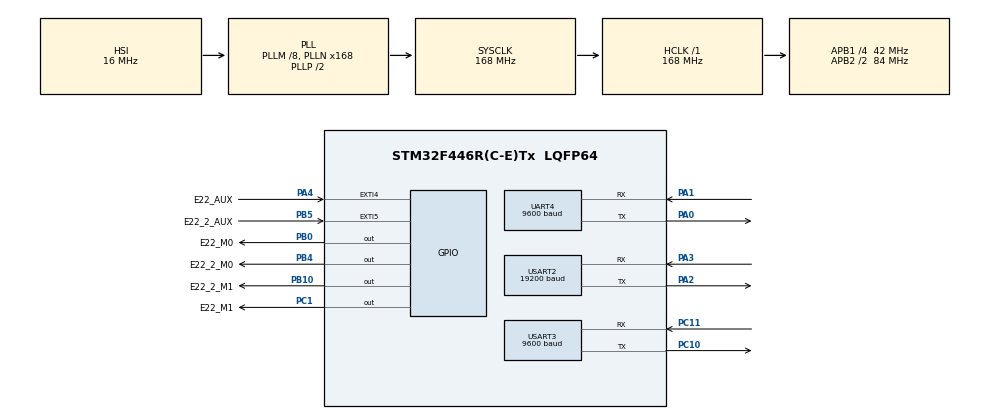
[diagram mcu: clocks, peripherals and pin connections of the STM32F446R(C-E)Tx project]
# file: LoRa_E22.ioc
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Mcu.Family=STM32F4
Mcu.Name=STM32F446R(C-E)Tx
Mcu.Package=LQFP64
NVIC.EXTI4_IRQn=true\:0\:0\:false\:false\:true\:true\:true\:true
NVIC.EXTI9_5_IRQn=true\:0\:0\:false\:false\:true\:true\:true\:true
NVIC.PriorityGroup=NVIC_PRIORITYGROUP_4
NVIC.UART4_IRQn=true\:0\:0\:false\:false\:true\:true\:true\:true
NVIC.USART2_IRQn=true\:0\:0\:false\:false\:true\:true\:true\:true
NVIC.USART3_IRQn=true\:0\:0\:false\:false\:true\:true\:true\:true
PA0-WKUP.Mode=Asynchronous
PA0-WKUP.Signal=UART4_TX
PA1.Mode=Asynchronous
PA1.Signal=UART4_RX
PA13.Mode=Serial_Wire
PA13.Signal=SYS_JTMS-SWDIO
PA14.Mode=Serial_Wire
PA14.Signal=SYS_JTCK-SWCLK
PA2.Mode=Asynchronous
PA2.Signal=USART2_TX
PA3.Mode=Asynchronous
PA3.Signal=USART2_RX
PA4.GPIO_Label=E22_AUX
PA4.GPIO_ModeDefaultEXTI=GPIO_MODE_IT_RISING_FALLING
PA4.Signal=GPXTI4
PB0.GPIO_Label=E22_M0
PB0.Signal=GPIO_Output
PB10.GPIO_Label=E22_2_M1
PB10.Signal=GPIO_Output
PB4.GPIO_Label=E22_2_M0
PB4.Signal=GPIO_Output
PB5.GPIO_Label=E22_2_AUX
PB5.GPIO_ModeDefaultEXTI=GPIO_MODE_IT_RISING_FALLING
PB5.Signal=GPXTI5
PC1.GPIO_Label=E22_M1
PC1.Signal=GPIO_Output
PC10.Mode=Asynchronous
PC10.Signal=USART3_TX
PC11.Mode=Asynchronous
PC11.Signal=USART3_RX
ProjectManager.HeapSize=0x200
ProjectManager.StackSize=0x400
ProjectManager.TargetToolchain=STM32CubeIDE
RCC.AHBFreq_Value=168000000
RCC.APB1CLKDivider=RCC_HCLK_DIV4
RCC.APB1Freq_Value=42000000
RCC.APB1TimFreq_Value=84000000
RCC.APB2CLKDivider=RCC_HCLK_DIV2
RCC.APB2Freq_Value=84000000
RCC.APB2TimFreq_Value=168000000
RCC.CortexFreq_Value=168000000
RCC.HCLKFreq_Value=168000000
RCC.PLLM=8
RCC.PLLN=168
RCC.SYSCLKFreq_VALUE=168000000
RCC.SYSCLKSource=RCC_SYSCLKSOURCE_PLLCLK
RCC.USBFreq_Value=168000000
RCC.VCOOutputFreq_Value=336000000
UART4.BaudRate=9600
UART4.VirtualMode=Asynchronous
USART2.BaudRate=19200
USART2.VirtualMode=VM_ASYNC
USART3.BaudRate=9600
USART3.VirtualMode=VM_ASYNC
board=custom

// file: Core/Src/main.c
/* USER CODE BEGIN Header */
/**
  ******************************************************************************
  * @file           : main.c
  * @brief          : Main program body
  ******************************************************************************
  * @attention
  *
  * Copyright (c) 2026 STMicroelectronics.
  * All rights reserved.
  *
  * This software is licensed under terms that can be found in the LICENSE file
  * in the root directory of this software component.
  * If no LICENSE file comes with this software, it is provided AS-IS.
  *
  ******************************************************************************
  */
/* USER CODE END Header */
#include "main.h"

/* USER CODE BEGIN Includes */
#include "LoRa_E22.h"
/* USER CODE END Includes */

/* USER CODE BEGIN PTD */

typedef struct {
	float latitude;
	float longitude;
	float altitude; // BUNA GEREK YOK
} Position;

typedef struct {
	float x;
	float y;
	float z;
} Vector3;

typedef struct __attribute__((__packed__)) {
	float altitude;
	Position gps;
    uint8_t satelliteCount;
    float pdop;

	Vector3 accelerometer;
	Vector3 gyroscope;
	Vector3 angle;
	float noseAngle;
	uint8_t status;
} RocketDataPack;

typedef struct __attribute__((__packed__))
{
    float altitude;

    Position gps;
    uint8_t satelliteCount;
    float pdop;

    Vector3 accelerometer;
    Vector3 gyroscope;
    Vector3 angle;

    float strain1;
    float strain2;
    float strain3;
    float strain4;
    float strain5;

} PayloadDataPack;

typedef struct __attribute__((__packed__)) {
	uint8_t prefix;
	RocketDataPack rocketData;
	PayloadDataPack payloadData;
	uint8_t ukb_rssi;
	uint8_t gy_rssi;
	uint8_t suffix;
} DataPack;

Lora_t lora;
Lora_t lora2;

DataPack dataPack;
PayloadDataPack payloadData;
RocketDataPack rocketData;

Lora_Config_t loraConfig;

UartHandler_t uart4;
UartHandler_t uart1;
UartHandler_t uart2;

/* USER CODE END PTD */

/* USER CODE BEGIN PD */

#define PREFIX 0xAB
#define SUFFIX 0xDC

#define LORA_CHANNEL 57
/* USER CODE END PD */

UART_HandleTypeDef huart4;
UART_HandleTypeDef huart2;
UART_HandleTypeDef huart3;

void SystemClock_Config(void);
static void MX_GPIO_Init(void);
static void MX_UART4_Init(void);
static void MX_USART3_UART_Init(void);
static void MX_USART2_UART_Init(void);

int main(void)
{

  /* MCU Configuration--------------------------------------------------------*/

  /* Reset of all peripherals, Initializes the Flash interface and the Systick. */
  HAL_Init();

  /* Configure the system clock */
  SystemClock_Config();

  /* Initialize all configured peripherals */
  MX_GPIO_Init();
  MX_UART4_Init();
  MX_USART3_UART_Init();
  MX_USART2_UART_Init();
  /* USER CODE BEGIN 2 */

  memset(&rocketData, 0, sizeof(rocketData));

  dataPack.prefix = PREFIX;
  dataPack.suffix = SUFFIX;

  RingBuffer_t rb;
  uart4.ringBuffer = &rb;
  uart4.uart = &huart4;
  Uart_Init(&uart4);

  Lora_Init_t loraInit;
  loraInit.auxPin = E22_AUX_Pin;
  loraInit.auxPort = E22_AUX_GPIO_Port;
  loraInit.m0Pin = E22_M0_Pin;
  loraInit.m0Port = E22_M0_GPIO_Port;
  loraInit.m1Pin = E22_M1_Pin;
  loraInit.m1Port = E22_M1_GPIO_Port;
  loraInit.baudRate = 9600;
  loraInit.bufferSize = 240;
  loraInit.prefix = 10;
  loraInit.suffix = 20;

  Lora_Init(&lora, &loraInit, &uart4);

  RingBuffer_t rb2;
  uart1.ringBuffer = &rb2;
  uart1.uart = &huart3;
  Uart_Init(&uart1);

  Lora_Init_t loraInit2;
  loraInit2.auxPin = E22_2_AUX_Pin;
  loraInit2.auxPort = E22_2_AUX_GPIO_Port;
  loraInit2.m0Pin = E22_2_M0_Pin;
  loraInit2.m0Port = E22_2_M0_GPIO_Port;
  loraInit2.m1Pin = E22_2_M1_Pin;
  loraInit2.m1Port = E22_2_M1_GPIO_Port;
  loraInit2.baudRate = 9600;
  loraInit2.bufferSize = 240;
  loraInit2.prefix = 10;
  loraInit2.suffix = 20;

  Lora_Init(&lora2, &loraInit2, &uart1);

  Lora_SetMode(&lora, LORA_MODE_CONFIGURATION);
  HAL_Delay(100);
  loraConfig = lora.config;
  loraConfig.ADDH = 0;
  loraConfig.ADDL = 99;
  loraConfig.AirDataRate = LORA_AIR_DATA_RATE_4_8;
  loraConfig.AmbientRSSI = 0;
  loraConfig.BaudRate = LORA_UART_BAUD_RATE_9600;
  loraConfig.Channel = LORA_CHANNEL;
  loraConfig.FixedPointTransmission = 1;
  loraConfig.LBTEnabled = 0;
  loraConfig.ParityBit = 0;
  loraConfig.NETID = 0;
  loraConfig.RSSIEnabled = 1;
  loraConfig.RepeaterEnabled = 0;
  loraConfig.SubPacketSize = LORA_SUB_PACKET_SIZE_128;
  loraConfig.TransmittingPower = LORA_TRANSMITTING_POWER_30;
  loraConfig.WORCycle = 0;
  loraConfig.WORTransceiverControl = 0;
  Lora_SetConfig(&lora, &loraConfig);
  HAL_Delay(100);
  Lora_GetConfig(&lora);
  HAL_Delay(100);
  Lora_SetMode(&lora, LORA_MODE_NORMAL);

  Lora_SetMode(&lora2, LORA_MODE_CONFIGURATION);
  HAL_Delay(100);
  //memcpy(&loraConfig, &lora2.config, 7);
  loraConfig = lora2.config;
  loraConfig.ADDH = 0;
  loraConfig.ADDL = 100;
  loraConfig.AirDataRate = LORA_AIR_DATA_RATE_4_8;
  loraConfig.AmbientRSSI = 0;
  loraConfig.BaudRate = LORA_UART_BAUD_RATE_9600;
  loraConfig.Channel = LORA_CHANNEL;
  loraConfig.FixedPointTransmission = 1;
  loraConfig.LBTEnabled = 0;
  loraConfig.ParityBit = 0;
  loraConfig.NETID = 0;
  loraConfig.RSSIEnabled = 1;
  loraConfig.RepeaterEnabled = 0;
  loraConfig.SubPacketSize = LORA_SUB_PACKET_SIZE_64;
  loraConfig.TransmittingPower = LORA_TRANSMITTING_POWER_30;
  loraConfig.WORCycle = 0;
  loraConfig.WORTransceiverControl = 0;
  Lora_SetConfig(&lora2, &loraConfig);
  HAL_Delay(100);
  Lora_GetConfig(&lora2);
  HAL_Delay(100);
  Lora_SetMode(&lora2, LORA_MODE_NORMAL);

  RingBuffer_t rb3;
  uart2.ringBuffer = &rb3;
  uart2.uart = &huart2;
  Uart_Init(&uart2);

  int startTime = HAL_GetTick();
  int dataReady = 0;

  /* USER CODE END 2 */

  /* Infinite loop */
  while (1)
  {

    /* USER CODE BEGIN 3 */

	  Lora_Process(&lora);
	  Lora_Process(&lora2);

	  if(Lora_IsDataReady(&lora)) {
		  Lora_Read(&lora, (uint8_t *)&payloadData, sizeof(payloadData));
		  dataReady = 1;
	  }

	  if(Lora_IsDataReady(&lora2)) {
		  Lora_Read(&lora2, (uint8_t *)&rocketData, sizeof(rocketData));
		  dataReady = 1;
	  }

	  if(HAL_GetTick() - startTime > 200) {
		  startTime = HAL_GetTick();
		  dataPack.ukb_rssi = lora2.RSSI;
		  if(dataReady) {
			  memcpy(&dataPack.rocketData, (uint8_t *)&rocketData, sizeof(rocketData));
			  memcpy(&dataPack.payloadData, (uint8_t *)&payloadData, sizeof(payloadData));
			  dataPack.ukb_rssi = lora2.RSSI;
			  dataPack.gy_rssi = lora.RSSI;
			  Uart_Write(&uart2, (uint8_t *)&dataPack, sizeof(dataPack));
			  dataReady = 0;
		  }
	  }

  }
  /* USER CODE END 3 */
}

void SystemClock_Config(void)
{
  RCC_OscInitTypeDef RCC_OscInitStruct = {0};
  RCC_ClkInitTypeDef RCC_ClkInitStruct = {0};

  /** Configure the main internal regulator output voltage
  */
  __HAL_RCC_PWR_CLK_ENABLE();
  __HAL_PWR_VOLTAGESCALING_CONFIG(PWR_REGULATOR_VOLTAGE_SCALE1);

  /** Initializes the RCC Oscillators according to the specified parameters
  * in the RCC_OscInitTypeDef structure.
  */
  RCC_OscInitStruct.OscillatorType = RCC_OSCILLATORTYPE_HSI;
  RCC_OscInitStruct.HSIState = RCC_HSI_ON;
  RCC_OscInitStruct.HSICalibrationValue = RCC_HSICALIBRATION_DEFAULT;
  RCC_OscInitStruct.PLL.PLLState = RCC_PLL_ON;
  RCC_OscInitStruct.PLL.PLLSource = RCC_PLLSOURCE_HSI;
  RCC_OscInitStruct.PLL.PLLM = 8;
  RCC_OscInitStruct.PLL.PLLN = 168;
  RCC_OscInitStruct.PLL.PLLP = RCC_PLLP_DIV2;
  RCC_OscInitStruct.PLL.PLLQ = 2;
  RCC_OscInitStruct.PLL.PLLR = 2;
  if (HAL_RCC_OscConfig(&RCC_OscInitStruct) != HAL_OK)
  {
    Error_Handler();
  }

  /** Initializes the CPU, AHB and APB buses clocks
  */
  RCC_ClkInitStruct.ClockType = RCC_CLOCKTYPE_HCLK|RCC_CLOCKTYPE_SYSCLK
                              |RCC_CLOCKTYPE_PCLK1|RCC_CLOCKTYPE_PCLK2;
  RCC_ClkInitStruct.SYSCLKSource = RCC_SYSCLKSOURCE_PLLCLK;
  RCC_ClkInitStruct.AHBCLKDivider = RCC_SYSCLK_DIV1;
  RCC_ClkInitStruct.APB1CLKDivider = RCC_HCLK_DIV4;
  RCC_ClkInitStruct.APB2CLKDivider = RCC_HCLK_DIV2;

  if (HAL_RCC_ClockConfig(&RCC_ClkInitStruct, FLASH_LATENCY_5) != HAL_OK)
  {
    Error_Handler();
  }
}

static void MX_UART4_Init(void)
{

  huart4.Instance = UART4;
  huart4.Init.BaudRate = 9600;
  huart4.Init.WordLength = UART_WORDLENGTH_8B;
  huart4.Init.StopBits = UART_STOPBITS_1;
  huart4.Init.Parity = UART_PARITY_NONE;
  huart4.Init.Mode = UART_MODE_TX_RX;
  huart4.Init.HwFlowCtl = UART_HWCONTROL_NONE;
  huart4.Init.OverSampling = UART_OVERSAMPLING_16;
  if (HAL_UART_Init(&huart4) != HAL_OK)
  {
    Error_Handler();
  }

}

static void MX_USART2_UART_Init(void)
{

  huart2.Instance = USART2;
  huart2.Init.BaudRate = 19200;
  huart2.Init.WordLength = UART_WORDLENGTH_8B;
  huart2.Init.StopBits = UART_STOPBITS_1;
  huart2.Init.Parity = UART_PARITY_NONE;
  huart2.Init.Mode = UART_MODE_TX_RX;
  huart2.Init.HwFlowCtl = UART_HWCONTROL_NONE;
  huart2.Init.OverSampling = UART_OVERSAMPLING_16;
  if (HAL_UART_Init(&huart2) != HAL_OK)
  {
    Error_Handler();
  }

}

static void MX_USART3_UART_Init(void)
{

  huart3.Instance = USART3;
  huart3.Init.BaudRate = 9600;
  huart3.Init.WordLength = UART_WORDLENGTH_8B;
  huart3.Init.StopBits = UART_STOPBITS_1;
  huart3.Init.Parity = UART_PARITY_NONE;
  huart3.Init.Mode = UART_MODE_TX_RX;
  huart3.Init.HwFlowCtl = UART_HWCONTROL_NONE;
  huart3.Init.OverSampling = UART_OVERSAMPLING_16;
  if (HAL_UART_Init(&huart3) != HAL_OK)
  {
    Error_Handler();
  }

}

static void MX_GPIO_Init(void)
{
  GPIO_InitTypeDef GPIO_InitStruct = {0};

  /* GPIO Ports Clock Enable */
  __HAL_RCC_GPIOC_CLK_ENABLE();
  __HAL_RCC_GPIOA_CLK_ENABLE();
  __HAL_RCC_GPIOB_CLK_ENABLE();

  /*Configure GPIO pin Output Level */
  HAL_GPIO_WritePin(E22_M1_GPIO_Port, E22_M1_Pin, GPIO_PIN_RESET);

  /*Configure GPIO pin Output Level */
  HAL_GPIO_WritePin(GPIOB, E22_M0_Pin|E22_2_M1_Pin|E22_2_M0_Pin, GPIO_PIN_RESET);

  /*Configure GPIO pin : E22_M1_Pin */
  GPIO_InitStruct.Pin = E22_M1_Pin;
  GPIO_InitStruct.Mode = GPIO_MODE_OUTPUT_PP;
  GPIO_InitStruct.Pull = GPIO_NOPULL;
  GPIO_InitStruct.Speed = GPIO_SPEED_FREQ_LOW;
  HAL_GPIO_Init(E22_M1_GPIO_Port, &GPIO_InitStruct);

  /*Configure GPIO pin : E22_AUX_Pin */
  GPIO_InitStruct.Pin = E22_AUX_Pin;
  GPIO_InitStruct.Mode = GPIO_MODE_IT_RISING_FALLING;
  GPIO_InitStruct.Pull = GPIO_NOPULL;
  HAL_GPIO_Init(E22_AUX_GPIO_Port, &GPIO_InitStruct);

  /*Configure GPIO pins : E22_M0_Pin E22_2_M1_Pin E22_2_M0_Pin */
  GPIO_InitStruct.Pin = E22_M0_Pin|E22_2_M1_Pin|E22_2_M0_Pin;
  GPIO_InitStruct.Mode = GPIO_MODE_OUTPUT_PP;
  GPIO_InitStruct.Pull = GPIO_NOPULL;
  GPIO_InitStruct.Speed = GPIO_SPEED_FREQ_LOW;
  HAL_GPIO_Init(GPIOB, &GPIO_InitStruct);

  /*Configure GPIO pin : E22_2_AUX_Pin */
  GPIO_InitStruct.Pin = E22_2_AUX_Pin;
  GPIO_InitStruct.Mode = GPIO_MODE_IT_RISING_FALLING;
  GPIO_InitStruct.Pull = GPIO_NOPULL;
  HAL_GPIO_Init(E22_2_AUX_GPIO_Port, &GPIO_InitStruct);

  /* EXTI interrupt init*/
  HAL_NVIC_SetPriority(EXTI4_IRQn, 0, 0);
  HAL_NVIC_EnableIRQ(EXTI4_IRQn);

  HAL_NVIC_SetPriority(EXTI9_5_IRQn, 0, 0);
  HAL_NVIC_EnableIRQ(EXTI9_5_IRQn);

}

/* USER CODE BEGIN 4 */

void HAL_UART_RxCpltCallback(UART_HandleTypeDef *huart)
{
	LoRa_UART_RxCpltCallback(huart);
}

void HAL_UART_TxCpltCallback(UART_HandleTypeDef *huart)
{
	LoRa_UART_TxCpltCallback(huart);
}

void HAL_GPIO_EXTI_Callback(uint16_t GPIO_Pin)
{
	Lora_AUX_IRQHandler(GPIO_Pin);
}

/* USER CODE END 4 */

void Error_Handler(void)
{
  __disable_irq();
  while (1)
  {
  }
}
